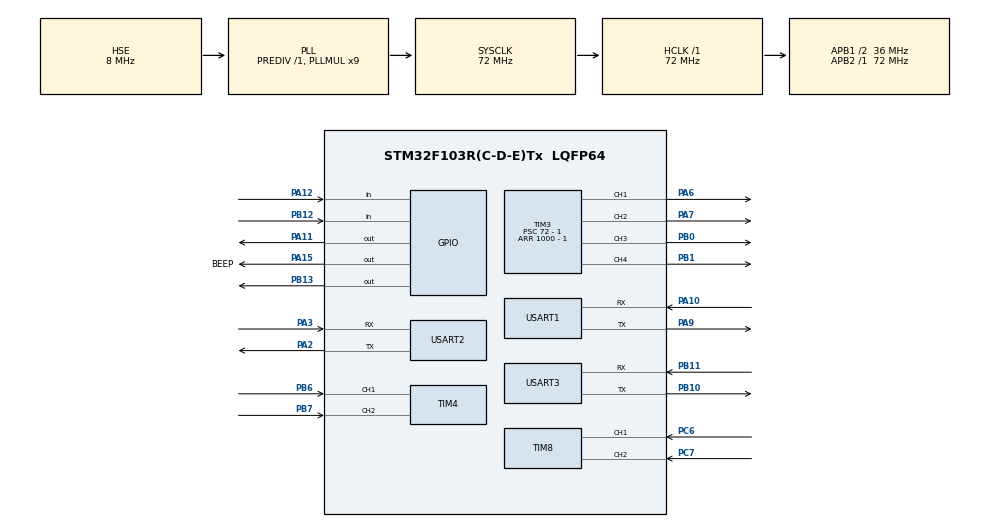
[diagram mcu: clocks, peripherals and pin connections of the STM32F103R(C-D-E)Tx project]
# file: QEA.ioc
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Mcu.Family=STM32F1
Mcu.Name=STM32F103R(C-D-E)Tx
Mcu.Package=LQFP64
NVIC.PriorityGroup=NVIC_PRIORITYGROUP_4
NVIC.TIM6_IRQn=true\:0\:0\:false\:false\:true\:true\:true
NVIC.USART1_IRQn=true\:0\:0\:false\:false\:true\:true\:true
NVIC.USART2_IRQn=true\:0\:0\:false\:false\:true\:true\:true
NVIC.USART3_IRQn=true\:0\:0\:false\:false\:true\:true\:true
PA10.Mode=Asynchronous
PA10.Signal=USART1_RX
PA11.PinState=GPIO_PIN_SET
PA11.Signal=GPIO_Output
PA12.GPIO_PuPd=GPIO_PULLDOWN
PA12.Signal=GPIO_Input
PA13.Mode=Serial_Wire
PA13.Signal=SYS_JTMS-SWDIO
PA14.Mode=Serial_Wire
PA14.Signal=SYS_JTCK-SWCLK
PA15.GPIO_Label=BEEP
PA15.Signal=GPIO_Output
PA2.Mode=Asynchronous
PA2.Signal=USART2_TX
PA3.Mode=Asynchronous
PA3.Signal=USART2_RX
PA6.Signal=S_TIM3_CH1
PA7.Signal=S_TIM3_CH2
PA9.Mode=Asynchronous
PA9.Signal=USART1_TX
PB0.Signal=S_TIM3_CH3
PB1.Signal=S_TIM3_CH4
PB10.Mode=Asynchronous
PB10.Signal=USART3_TX
PB11.Mode=Asynchronous
PB11.Signal=USART3_RX
PB12.GPIO_PuPd=GPIO_PULLDOWN
PB12.Signal=GPIO_Input
PB13.PinState=GPIO_PIN_SET
PB13.Signal=GPIO_Output
PB6.Signal=S_TIM4_CH1
PB7.Signal=S_TIM4_CH2
PC6.Signal=S_TIM8_CH1
PC7.Signal=S_TIM8_CH2
PD0-OSC_IN.Mode=HSE-External-Oscillator
PD0-OSC_IN.Signal=RCC_OSC_IN
PD1-OSC_OUT.Mode=HSE-External-Oscillator
PD1-OSC_OUT.Signal=RCC_OSC_OUT
ProjectManager.HeapSize=0x200
ProjectManager.StackSize=0x400
ProjectManager.TargetToolchain=STM32CubeIDE
RCC.AHBFreq_Value=72000000
RCC.APB1CLKDivider=RCC_HCLK_DIV2
RCC.APB1Freq_Value=36000000
RCC.APB1TimFreq_Value=72000000
RCC.APB2Freq_Value=72000000
RCC.APB2TimFreq_Value=72000000
RCC.HCLKFreq_Value=72000000
RCC.PLLMUL=RCC_PLL_MUL9
RCC.PLLSourceVirtual=RCC_PLLSOURCE_HSE
RCC.SYSCLKFreq_VALUE=72000000
RCC.SYSCLKSource=RCC_SYSCLKSOURCE_PLLCLK
RCC.USBFreq_Value=72000000
SH.S_TIM3_CH1.0=TIM3_CH1,PWM Generation1 CH1
SH.S_TIM3_CH2.0=TIM3_CH2,PWM Generation2 CH2
SH.S_TIM3_CH3.0=TIM3_CH3,PWM Generation3 CH3
SH.S_TIM3_CH4.0=TIM3_CH4,PWM Generation4 CH4
SH.S_TIM4_CH1.0=TIM4_CH1,Encoder_Interface
SH.S_TIM4_CH2.0=TIM4_CH2,Encoder_Interface
SH.S_TIM8_CH1.0=TIM8_CH1,Encoder_Interface
SH.S_TIM8_CH2.0=TIM8_CH2,Encoder_Interface
TIM3.Channel-PWM\ Generation1\ CH1=TIM_CHANNEL_1
TIM3.Channel-PWM\ Generation2\ CH2=TIM_CHANNEL_2
TIM3.Channel-PWM\ Generation3\ CH3=TIM_CHANNEL_3
TIM3.Channel-PWM\ Generation4\ CH4=TIM_CHANNEL_4
TIM3.Period=1000 - 1
TIM3.Prescaler=72 - 1
TIM4.EncoderMode=TIM_ENCODERMODE_TI12
TIM6.Period=1000 - 1
TIM6.Prescaler=72 - 1
TIM8.EncoderMode=TIM_ENCODERMODE_TI12
USART1.VirtualMode=VM_ASYNC
USART2.VirtualMode=VM_ASYNC
USART3.VirtualMode=VM_ASYNC
VP_TIM3_VS_ClockSourceINT.Mode=Internal
VP_TIM6_VS_ClockSourceINT.Mode=Enable_Timer
board=custom

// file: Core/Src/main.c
/* USER CODE BEGIN Header */
/**
  ******************************************************************************
  * @file           : main.c
  * @brief          : Main program body
  ******************************************************************************
  * @attention
  *
  * Copyright (c) 2023 STMicroelectronics.
  * All rights reserved.
  *
  * This software is licensed under terms that can be found in the LICENSE file
  * in the root directory of this software component.
  * If no LICENSE file comes with this software, it is provided AS-IS.
  *
  ******************************************************************************
  */
#include <string.h>
#include <stdio.h>
#include <math.h>
/* USER CODE END Header */
#include "main.h"
#include "tim.h"
#include "usart.h"
#include "gpio.h"

/* USER CODE BEGIN PD */

#define PI 3.141592653589793

/* USER CODE END PD */

void SystemClock_Config(void);

/* USER CODE BEGIN 0 */

//使用双缓冲
uint8_t imuRecvBuff1[64] = {0};
int imuRecvOffset1 = 0;
uint8_t imuRecvBuff2[64] = {0};
int imuRecvOffset2 = 0;
int imuRecvStatus = 0;
uint8_t* imuPackage = 0; //等待处理的数据包
uint8_t imuBuff[1024] = {0};
uint8_t imuBuffOffset = 0;

static const uint8_t CRC8Table[] = {
        0, 94, 188, 226, 97, 63, 221, 131, 194, 156, 126, 32, 163, 253, 31, 65, 157, 195, 33, 127, 252, 162, 64, 30, 95, 1, 227, 189, 62, 96, 130, 220, 35, 125, 159, 193, 66, 28, 254, 160, 225, 191, 93, 3, 128, 222, 60, 98, 190, 224, 2, 92, 223, 129, 99, 61, 124, 34, 192, 158, 29, 67, 161, 255, 70, 24, 250, 164, 39, 121, 155, 197, 132, 218, 56, 102, 229, 187, 89, 7, 219, 133, 103, 57, 186, 228, 6, 88, 25, 71, 165, 251, 120, 38, 196, 154, 101, 59, 217, 135, 4, 90, 184, 230, 167, 249, 27, 69, 198, 152, 122, 36, 248, 166, 68, 26, 153, 199, 37, 123, 58, 100, 134, 216, 91, 5, 231, 185, 140, 210, 48, 110, 237, 179, 81, 15, 78, 16, 242, 172, 47, 113, 147, 205,
        17, 79, 173, 243, 112, 46, 204, 146, 211, 141, 111, 49, 178, 236, 14, 80,175, 241, 19, 77, 206, 144, 114, 44, 109, 51, 209, 143, 12, 82, 176, 238, 50, 108, 142, 208, 83, 13, 239, 177, 240, 174, 76, 18, 145, 207, 45, 115, 202, 148, 118, 40, 171, 245, 23, 73, 8, 86, 180, 234, 105, 55, 213, 139, 87, 9, 235, 181, 54, 104, 138, 212, 149, 203, 41, 119, 244, 170, 72, 22, 233, 183, 85, 11, 136, 214, 52, 106, 43, 117, 151, 201, 74, 20, 246, 168, 116, 42, 200, 150, 21, 75, 169, 247, 182, 232, 10, 84, 215, 137, 107, 53
};

static const uint16_t CRC16Table[256] = {
0x0000, 0x1021, 0x2042, 0x3063, 0x4084, 0x50A5, 0x60C6, 0x70E7, 0x8108, 0x9129, 0xA14A, 0xB16B, 0xC18C, 0xD1AD, 0xE1CE, 0xF1EF, 0x1231, 0x0210, 0x3273, 0x2252, 0x52B5, 0x4294, 0x72F7, 0x62D6, 0x9339, 0x8318, 0xB37B, 0xA35A, 0xD3BD, 0xC39C, 0xF3FF, 0xE3DE, 0x2462, 0x3443, 0x0420, 0x1401, 0x64E6, 0x74C7, 0x44A4, 0x5485, 0xA56A, 0xB54B, 0x8528, 0x9509, 0xE5EE, 0xF5CF, 0xC5AC, 0xD58D, 0x3653, 0x2672, 0x1611, 0x0630, 0x76D7, 0x66F6, 0x5695, 0x46B4, 0xB75B, 0xA77A, 0x9719, 0x8738, 0xF7DF, 0xE7FE, 0xD79D, 0xC7BC, 0x48C4, 0x58E5, 0x6886, 0x78A7, 0x0840, 0x1861, 0x2802, 0x3823, 0xC9CC, 0xD9ED, 0xE98E, 0xF9AF, 0x8948, 0x9969, 0xA90A, 0xB92B, 0x5AF5, 0x4AD4, 0x7AB7, 0x6A96, 0x1A71, 0x0A50, 0x3A33, 0x2A12,
0xDBFD, 0xCBDC, 0xFBBF, 0xEB9E, 0x9B79, 0x8B58, 0xBB3B, 0xAB1A,0x6CA6, 0x7C87, 0x4CE4, 0x5CC5, 0x2C22, 0x3C03, 0x0C60, 0x1C41, 0xEDAE, 0xFD8F, 0xCDEC, 0xDDCD, 0xAD2A, 0xBD0B, 0x8D68, 0x9D49, 0x7E97, 0x6EB6, 0x5ED5, 0x4EF4, 0x3E13, 0x2E32, 0x1E51, 0x0E70, 0xFF9F, 0xEFBE, 0xDFDD, 0xCFFC, 0xBF1B, 0xAF3A, 0x9F59, 0x8F78, 0x9188, 0x81A9, 0xB1CA, 0xA1EB, 0xD10C, 0xC12D, 0xF14E, 0xE16F, 0x1080, 0x00A1, 0x30C2, 0x20E3, 0x5004, 0x4025, 0x7046, 0x6067, 0x83B9, 0x9398, 0xA3FB, 0xB3DA, 0xC33D, 0xD31C, 0xE37F, 0xF35E, 0x02B1, 0x1290, 0x22F3, 0x32D2, 0x4235, 0x5214, 0x6277, 0x7256, 0xB5EA, 0xA5CB, 0x95A8, 0x8589, 0xF56E, 0xE54F, 0xD52C, 0xC50D, 0x34E2, 0x24C3, 0x14A0, 0x0481, 0x7466, 0x6447, 0x5424, 0x4405, 0xA7DB, 0xB7FA, 0x8799, 0x97B8, 0xE75F, 0xF77E, 0xC71D, 0xD73C, 0x26D3, 0x36F2, 0x0691, 0x16B0, 0x6657, 0x7676, 0x4615, 0x5634, 0xD94C, 0xC96D, 0xF90E, 0xE92F, 0x99C8, 0x89E9, 0xB98A, 0xA9AB, 0x5844, 0x4865, 0x7806, 0x6827, 0x18C0, 0x08E1, 0x3882, 0x28A3, 0xCB7D, 0xDB5C, 0xEB3F, 0xFB1E, 0x8BF9, 0x9BD8, 0xABBB, 0xBB9A, 0x4A75, 0x5A54, 0x6A37, 0x7A16, 0x0AF1, 0x1AD0, 0x2AB3, 0x3A92, 0xFD2E, 0xED0F, 0xDD6C, 0xCD4D, 0xBDAA, 0xAD8B, 0x9DE8, 0x8DC9, 0x7C26, 0x6C07, 0x5C64, 0x4C45, 0x3CA2, 0x2C83, 0x1CE0, 0x0CC1, 0xEF1F, 0xFF3E, 0xCF5D, 0xDF7C, 0xAF9B, 0xBFBA, 0x8FD9, 0x9FF8, 0x6E17, 0x7E36, 0x4E55, 0x5E74, 0x2E93, 0x3EB2, 0x0ED1, 0x1EF0
};

uint8_t CRC8_Table(uint8_t* p, uint8_t counter) {
    uint8_t crc8 = 0;
    for (int i = 0; i < counter; i++) {
        uint8_t value = p[i];
        uint8_t new_index = crc8 ^ value; crc8 = CRC8Table[new_index];
    }
    return (crc8);
}

uint16_t CRC16_Table(uint8_t* p, uint8_t counter) {
    uint16_t crc16 = 0;
    for (int i = 0; i < counter; i++) {
        uint8_t value = p[i];
        crc16 = CRC16Table[((crc16 >> 8) ^ value) & 0xff] ^ (crc16 << 8); }
    return (crc16);
}

void HAL_UART_RxCpltCallback(UART_HandleTypeDef* huart)
{
    if (huart->Instance == USART2) {
        if (imuRecvStatus == 0) {
            imuRecvOffset1 += 1;
            if (imuRecvOffset1 == 64) {
                imuRecvStatus = 1;
                imuRecvOffset1 = 0;
                imuPackage = imuRecvBuff1;
                HAL_UART_Receive_IT(&huart2, imuRecvBuff2 + imuRecvOffset2, 1);
            } else {
                HAL_UART_Receive_IT(&huart2, imuRecvBuff1 + imuRecvOffset1, 1);
            }
        } else {
            imuRecvOffset2 += 1;
            if (imuRecvOffset2 == 64) {
                imuRecvStatus = 0;
                imuRecvOffset2 = 0;
                imuPackage = imuRecvBuff2;
                HAL_UART_Receive_IT(&huart2, imuRecvBuff1 + imuRecvOffset1, 1);
            } else {
                HAL_UART_Receive_IT(&huart2, imuRecvBuff2 + imuRecvOffset2, 1);
            }
        }
    }
}

/*
 * 默认机器人的前方相对坐标系x轴，左方为相对坐标系y轴
 * 启动时，默认前方为绝对坐标系x轴，左方为绝对坐标系y轴
 */

volatile struct WheelPWM
{
    double speed; //当前速度
    double target; //目标速度
    double minPWM; //限制pwm输出范围
    double maxPWM;
    double kp;
    double ki;
    double kd;
    double error;
    double lastError;
    double lastError2;
    double pwm; //pwm输出值
    double pulse; //脉冲数
}wheelPWM1, wheelPWM2;

volatile struct RobotInfo
{
    double VL; //左轮速度
    double VR; //右轮速度
    double VM; //平均速度
    double r; //运行半径
    double L; //车轮间距
    double XPos; //绝对坐标
    double YPos;
    double radian; //方向, 逆时针, 起点x轴
}robotInfo;

volatile struct RobotIMU
{
    double roll;
    double pitch;
    double heading;
    double x; //向量x坐标
    double y; //向量y坐标
    double len; //向量长度
}robotIMU;

void ClearSpeed()
{
    robotInfo.VL = 0;
    robotInfo.VR = 0;
}

void CommitSpeed()
{
    wheelPWM2.target = robotInfo.VL;
    wheelPWM1.target = -robotInfo.VR;

}

void Stop()
{
    ClearSpeed();
    CommitSpeed();
}

void SpinLeft(double speed)
{
    robotInfo.VL -= speed;
    robotInfo.VR += speed;
}

void SpinRight(double speed)
{
    robotInfo.VL += speed;
    robotInfo.VR -= speed;
}

void MoveForwardV1(double speed)
{
    robotInfo.VL += speed;
    robotInfo.VR += speed;
}

/*
 * @param speed 运行速度 r 运行半径
 */
void MoveForward(double speed, double r)
{
    robotInfo.VM = speed;
    robotInfo.r = r;
    robotInfo.VL = (1 - robotInfo.L / (2 * robotInfo.r)) * robotInfo.VM;
    robotInfo.VR = (1 + robotInfo.L / (2 * robotInfo.r)) * robotInfo.VM;
}

/*
 * @param speed 运行速度 r 运行半径 dis 运行距离
 */
void MoveForwardV2(double speed, double r, double dis)
{
    ClearSpeed();
    MoveForward(speed, r);
    CommitSpeed();
    wheelPWM1.pulse = 0;
    wheelPWM2.pulse = 0;
    while (1) {
        double meanDis = (fabs(wheelPWM1.pulse) + fabs(wheelPWM2.pulse)) / 2;
        if (fabs(meanDis) > dis) break;
    }
    Stop();
}

void RobotInit()
{
    robotInfo.L = 13.5;

    wheelPWM1.target = 0;
    wheelPWM1.minPWM = -1000;
    wheelPWM1.maxPWM = 1000;
    wheelPWM1.kp = 960;
    wheelPWM1.ki = 240;
    wheelPWM1.kd = 0;

    wheelPWM2.target = 0;
    wheelPWM2.minPWM = -1000;
    wheelPWM2.maxPWM = 1000;
    wheelPWM2.kp = 960;
    wheelPWM2.ki = 240;
    wheelPWM2.kd = 0;
}

void Do_PID(struct WheelPWM* wheelPWM)
{
    wheelPWM->lastError2 = wheelPWM->lastError;
    wheelPWM->lastError = wheelPWM->error;
    wheelPWM->error = wheelPWM->target - wheelPWM->speed;

    wheelPWM->pwm += wheelPWM->kp * (wheelPWM->error - wheelPWM->lastError) + wheelPWM->ki * wheelPWM->error + wheelPWM->kd * (wheelPWM->error - 2 * wheelPWM->lastError + wheelPWM->lastError2);
    if (wheelPWM->pwm > wheelPWM->maxPWM) wheelPWM->pwm = wheelPWM->maxPWM;
    if (wheelPWM->pwm < wheelPWM->minPWM) wheelPWM->pwm = wheelPWM->minPWM;
}

void PID_Tick()
{
    wheelPWM1.speed = (short) __HAL_TIM_GET_COUNTER(&htim4);
    __HAL_TIM_SET_COUNTER(&htim4, 0);
    wheelPWM1.pulse += wheelPWM1.speed;

    wheelPWM2.speed = (short) __HAL_TIM_GET_COUNTER(&htim8);
    __HAL_TIM_SET_COUNTER(&htim8, 0);
    wheelPWM2.pulse += wheelPWM2.speed;

    Do_PID(&wheelPWM1);
    if (wheelPWM1.pwm > 0) {
        __HAL_TIM_SET_COMPARE(&htim3, TIM_CHANNEL_1, wheelPWM1.pwm);
        __HAL_TIM_SET_COMPARE(&htim3, TIM_CHANNEL_2, 0);
    } else if (wheelPWM1.pwm < 0) {
        __HAL_TIM_SET_COMPARE(&htim3, TIM_CHANNEL_1, 0);
        __HAL_TIM_SET_COMPARE(&htim3, TIM_CHANNEL_2, -wheelPWM1.pwm);
    } else {
        __HAL_TIM_SET_COMPARE(&htim3, TIM_CHANNEL_1, 0);
        __HAL_TIM_SET_COMPARE(&htim3, TIM_CHANNEL_2, 0);
    }

    Do_PID(&wheelPWM2);
    if (wheelPWM2.pwm > 0) {
        __HAL_TIM_SET_COMPARE(&htim3, TIM_CHANNEL_3, wheelPWM2.pwm);
        __HAL_TIM_SET_COMPARE(&htim3, TIM_CHANNEL_4, 0);
    } else if (wheelPWM2.pwm < 0) {
        __HAL_TIM_SET_COMPARE(&htim3, TIM_CHANNEL_3, 0);
        __HAL_TIM_SET_COMPARE(&htim3, TIM_CHANNEL_4, -wheelPWM2.pwm);
    } else {
        __HAL_TIM_SET_COMPARE(&htim3, TIM_CHANNEL_3, 0);
        __HAL_TIM_SET_COMPARE(&htim3, TIM_CHANNEL_4, 0);
    }
}

void HAL_TIM_PeriodElapsedCallback(TIM_HandleTypeDef* htim)
{
    if (htim->Instance == TIM6) {
        PID_Tick();
    }
}

struct MSG_IMU
{
    float Gyroscope_X; //机体系X轴角速度
    float Gyroscope_Y; //机体系Y轴角速度
    float Gyroscope_Z; //机体系Z轴角速度
    float Accelerometer_X; //机体系X轴加速度(未分离重力加速度)
    float Accelerometer_Y; //机体系Y轴加速度(未分离重力加速度)
    float Accelerometer_Z; //机体系Z轴加速度(未分离重力加速度)
    float Magnetometer_X; //机体系X轴磁感应强度
    float Magnetometer_Y; //机体系Y轴磁感应强度
    float Magnetometer_Z; //机体系Z轴磁感应强度
    float IMU_Temperature; //如果IMU数据由多个传感器组成则该值为这些传感器的平均温度
    float Pressure; //气压值
    float Pressure_Temperature; //气压计的温度值
    int64_t Timestamp; //时间戳
};

struct MSG_AHRS
{
    float RollSpeed; //横滚角速度
    float PitchSpeed; //俯仰角速度
    float HeadingSpeed; //偏航角速度
    float Roll; //横滚
    float Pitch; //俯仰
    float Heading; //偏航
    float Q1; //四元数Q1
    float Q2; //四元数Q2
    float Q3; //四元数Q3
    float Q4; //四元数Q4
    int64_t Timestamp; //时间戳
};

void HandleIMUPackage(int cmd, uint8_t* data, int len)
{
    if (cmd == 0x40) {
        struct MSG_IMU* msgImu = (struct MSG_IMU*)data;
    } else if (cmd == 0x41) {
        struct MSG_AHRS* msgAhrs = (struct MSG_AHRS*)data;

        robotIMU.roll = -msgAhrs->Roll;
        robotIMU.pitch = -msgAhrs->Pitch;
        robotIMU.heading = msgAhrs->Heading;
        robotIMU.y = sin(robotIMU.roll);
        robotIMU.x = cos(robotIMU.roll) * sin(robotIMU.pitch);

        //缩放
        robotIMU.x *= -100;
        robotIMU.y *= -100;
        robotIMU.len = sqrt(pow(robotIMU.x, 2) + pow(robotIMU.y, 2));

//        char buff[64] = {0};
//        snprintf(buff, 64, "roll:%.4f pitch:%.4f heading:%.4f\r\n", robotIMU.roll, robotIMU.pitch, robotIMU.heading);
//        HAL_UART_Transmit(&huart1, buff, strlen(buff), 100);

//        char buff[64] = {0};
//        snprintf(buff, 64, "x:%.4lf y:%.4lf len:%.4lf\r\n", robotIMU.x, robotIMU.y, robotIMU.len);
//        HAL_UART_Transmit(&huart1, buff, strlen(buff), 100);

    }
}

void DecodeIMUPackage()
{
    if (imuPackage) {
        memcpy(imuBuff + imuBuffOffset, imuPackage, 64);
        imuBuffOffset += 64;
        if (imuBuffOffset >= 1024) imuBuffOffset = 0;
        imuPackage = 0;
    }
    //定位帧头
    int packageStart = 0;
    for (; packageStart < imuBuffOffset - 4; ++packageStart) {
        uint8_t crc8 = CRC8_Table(imuBuff + packageStart, 4);
        if (imuBuff[packageStart] == 0xFC && crc8 == imuBuff[packageStart + 4]) {
            break;
        }
    }
    //将帧头移动到起始位置
    memcpy(imuBuff, imuBuff + packageStart, imuBuffOffset - packageStart);
    imuBuffOffset -= packageStart;

    //判断帧头
    uint8_t crc8 = CRC8_Table(imuBuff, 4);
    if (imuBuff[0] == 0xFC && crc8 == imuBuff[4]) { //是帧头
        int cmd = imuBuff[1]; //指令类别
        int dataLen = imuBuff[2]; //数据长度

        //判断是否接收完整个数据
        if (imuBuffOffset >= 5 + 2 + dataLen + 1) { //5->帧头 2->crc16 1->帧尾标记
            uint16_t crc16FromBuff = (imuBuff[5] << 8) | imuBuff[6];
            uint16_t crc16 = CRC16_Table(imuBuff + 7, dataLen);

            if (crc16 == crc16FromBuff) HandleIMUPackage(cmd, imuBuff + 7, dataLen);

            int frameLen = 5 + 2 + dataLen + 1;
            memcpy(imuBuff, imuBuff + frameLen, imuBuffOffset - frameLen);
            imuBuffOffset -= frameLen;
        }
    }
}

/* USER CODE END 0 */

int main(void)
{

  /* MCU Configuration--------------------------------------------------------*/

  /* Reset of all peripherals, Initializes the Flash interface and the Systick. */
  HAL_Init();

  /* Configure the system clock */
  SystemClock_Config();

  /* Initialize all configured peripherals */
  MX_GPIO_Init();
  MX_TIM3_Init();
  MX_TIM4_Init();
  MX_TIM8_Init();
  MX_USART1_UART_Init();
  MX_TIM6_Init();
  MX_USART2_UART_Init();
  MX_USART3_UART_Init();
  /* USER CODE BEGIN 2 */

    HAL_TIM_PWM_Start(&htim3, TIM_CHANNEL_1);
    HAL_TIM_PWM_Start(&htim3, TIM_CHANNEL_2);
    HAL_TIM_PWM_Start(&htim3, TIM_CHANNEL_3);
    HAL_TIM_PWM_Start(&htim3, TIM_CHANNEL_4);

    HAL_TIM_Encoder_Start(&htim4, TIM_CHANNEL_1 | TIM_CHANNEL_2);
    HAL_TIM_Encoder_Start(&htim8, TIM_CHANNEL_1 | TIM_CHANNEL_2);

    HAL_TIM_Base_Start_IT(&htim6);

    HAL_UART_Receive_IT(&huart2, imuRecvBuff1, 1);

    RobotInit();

    Stop();

  /* USER CODE END 2 */

  /* Infinite loop */
  /* USER CODE BEGIN WHILE */
  while (1)
  {
      DecodeIMUPackage();

      if (robotIMU.len > 5) {
          double rad = 0;
          if (robotIMU.x > 0 && robotIMU.y > 0) {
              rad = atan(robotIMU.y / robotIMU.x);
          } else if (robotIMU.x < 0 && robotIMU.y > 0) {
              rad = atan(robotIMU.y / robotIMU.x) + PI;
          } else if (robotIMU.x < 0 && robotIMU.y < 0) {
              rad = atan(robotIMU.y / robotIMU.x) - PI;
          } else {
              rad = atan(robotIMU.y / robotIMU.x);
          }

          if (rad > 0) {
              ClearSpeed();
              MoveForwardV1(150);
              double spinSpeed = 90 * rad;
              if (spinSpeed > 80) spinSpeed = 80;
              SpinLeft(spinSpeed);
              CommitSpeed();
          } else if (rad < 0) {
              ClearSpeed();
              MoveForwardV1(150);
              double spinSpeed = -90 * rad;
              if (spinSpeed > 80) spinSpeed = 80;
              SpinRight(spinSpeed);
              CommitSpeed();
          }
      } else {
          Stop();
      }

    /* USER CODE END WHILE */

  }
}

void SystemClock_Config(void)
{
  RCC_OscInitTypeDef RCC_OscInitStruct = {0};
  RCC_ClkInitTypeDef RCC_ClkInitStruct = {0};

  /** Initializes the RCC Oscillators according to the specified parameters
  * in the RCC_OscInitTypeDef structure.
  */
  RCC_OscInitStruct.OscillatorType = RCC_OSCILLATORTYPE_HSE;
  RCC_OscInitStruct.HSEState = RCC_HSE_ON;
  RCC_OscInitStruct.HSEPredivValue = RCC_HSE_PREDIV_DIV1;
  RCC_OscInitStruct.HSIState = RCC_HSI_ON;
  RCC_OscInitStruct.PLL.PLLState = RCC_PLL_ON;
  RCC_OscInitStruct.PLL.PLLSource = RCC_PLLSOURCE_HSE;
  RCC_OscInitStruct.PLL.PLLMUL = RCC_PLL_MUL9;
  if (HAL_RCC_OscConfig(&RCC_OscInitStruct) != HAL_OK)
  {
    Error_Handler();
  }
  /** Initializes the CPU, AHB and APB buses clocks
  */
  RCC_ClkInitStruct.ClockType = RCC_CLOCKTYPE_HCLK|RCC_CLOCKTYPE_SYSCLK
                              |RCC_CLOCKTYPE_PCLK1|RCC_CLOCKTYPE_PCLK2;
  RCC_ClkInitStruct.SYSCLKSource = RCC_SYSCLKSOURCE_PLLCLK;
  RCC_ClkInitStruct.AHBCLKDivider = RCC_SYSCLK_DIV1;
  RCC_ClkInitStruct.APB1CLKDivider = RCC_HCLK_DIV2;
  RCC_ClkInitStruct.APB2CLKDivider = RCC_HCLK_DIV1;

  if (HAL_RCC_ClockConfig(&RCC_ClkInitStruct, FLASH_LATENCY_2) != HAL_OK)
  {
    Error_Handler();
  }
}

void Error_Handler(void)
{
  __disable_irq();
  while (1)
  {
  }
}
